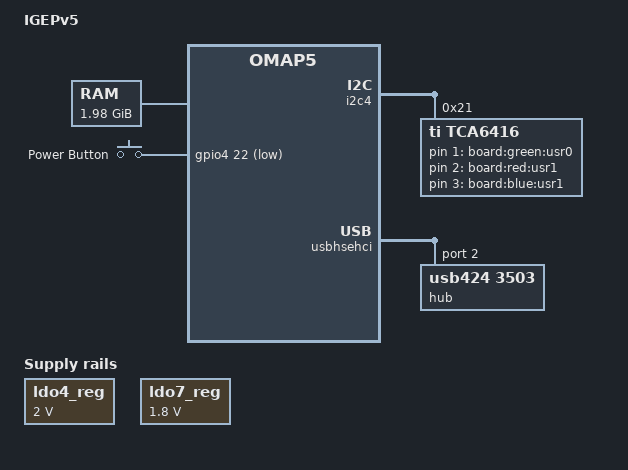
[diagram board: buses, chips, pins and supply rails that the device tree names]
// SPDX-License-Identifier: GPL-2.0-only
/*
 * Copyright (C) 2013 ISEE 2007 SL - https://www.isee.biz/
 */
/dts-v1/;

#include <dt-bindings/input/input.h>
#include "omap5-board-common.dtsi"

/ {
	model = "IGEPv5";
	compatible = "isee,omap5-igep0050", "ti,omap5";

	memory@80000000 {
		device_type = "memory";
		reg = <0x0 0x80000000 0 0x7f000000>;	/* 2032 MB */
	};

	aliases {
		ethernet = &ethernet;
	};

	gpio_keys {
		compatible = "gpio-keys";
		pinctrl-0 = <&power_button_pin>;
		pinctrl-names = "default";

		power-button {
			label = "Power Button";
			linux,code = <KEY_POWER>;
			gpios = <&gpio4 22 GPIO_ACTIVE_LOW>;
		};
	};

	leds {
		compatible = "gpio-leds";
		led@1 {
			label = "board:green:usr0";
			gpios = <&tca6416 1 0>;
			default-state = "off";
		};
		led@2 {
			label = "board:red:usr1";
			gpios = <&tca6416 2 0>;
			default-state = "off";
		};
		led@3 {
			label = "board:blue:usr1";
			gpios = <&tca6416 3 0>;
			default-state = "off";
		};
	};
};

&hdmi {
	vdda-supply = <&ldo7_reg>;
};

&i2c4 {
	pinctrl-names = "default";
	pinctrl-0 = <&i2c4_pins>;

	tca6416: tca6416@21 {
		compatible = "ti,tca6416";
		reg = <0x21>;
		gpio-controller;
		#gpio-cells = <2>;
	};
};

/* LDO4 is VPP1 - ball AD9 */
&ldo4_reg {
	regulator-min-microvolt = <2000000>;
	regulator-max-microvolt = <2000000>;
};

/*
 * LDO7 is used for HDMI: VDDA_DSIPORTA - ball AA33, VDDA_DSIPORTC - ball AE33,
 * VDDA_HDMI - ball AN25
 */
&ldo7_reg {
	status = "okay";
	regulator-min-microvolt = <1800000>;
	regulator-max-microvolt = <1800000>;
};

&omap5_pmx_core {
	i2c4_pins: i2c4-pins {
		pinctrl-single,pins = <
			OMAP5_IOPAD(0x0f8, PIN_INPUT | MUX_MODE0)	/* i2c4_scl */
			OMAP5_IOPAD(0x0fa, PIN_INPUT | MUX_MODE0)	/* i2c4_sda */
		>;
	};

	power_button_pin: power-button-pins {
		pinctrl-single,pins = <
			OMAP5_IOPAD(0x086, PIN_INPUT | MUX_MODE6)	/* gpio4_118 */
		>;
	};
};

&tpd12s015 {
	gpios = <&tca6416 11 0>,	/* TCA6416 P01, CT_CP_HDP */
		<&tca6416 12 0>,	/* TCA6416 P00, LS_OE*/
		<&gpio7 1 0>,		/* 193, HPD */
		<&gpio7 2 0>,		/* 194, SCL */
		<&gpio7 3 0>;		/* 195, SDA */
};

&twl6040 {
	ti,audpwron-gpio = <&gpio5 16 GPIO_ACTIVE_HIGH>;  /* gpio line 144 */
};

&twl6040_pins {
	pinctrl-single,pins = <
		OMAP5_IOPAD(0x1c4, PIN_OUTPUT | MUX_MODE6)	/* mcspi1_somi.gpio5_144 */
		OMAP5_IOPAD(0x1ca, PIN_OUTPUT | MUX_MODE6)	/* perslimbus2_clock.gpio5_145 */
	>;
};

&usbhsehci {
	#address-cells = <1>;
	#size-cells = <0>;

	hub@2 {
		compatible = "usb424,3503";
		reg = <2>;
		#address-cells = <1>;
		#size-cells = <0>;

		ethernet: ethernet@3 {
			compatible = "usb424,7500";
			reg = <3>;
		};
	};
};
